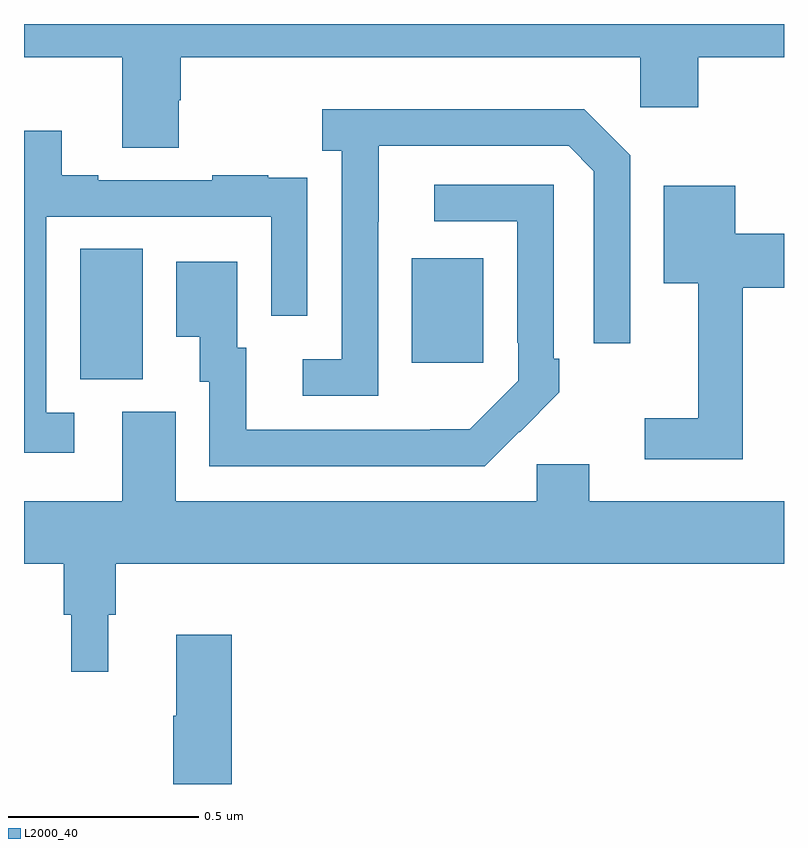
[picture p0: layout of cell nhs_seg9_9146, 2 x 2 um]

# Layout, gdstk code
import gdstk
lib = gdstk.Library(unit=1e-6, precision=1e-09)
def R(c, l, rs):  # rectangles x0, y0, x1, y1
    for r in rs: c.add(gdstk.rectangle(r[:2], r[2:], *l))
def P(c, l, *ps):  # polygons
    for p in ps: c.add(gdstk.Polygon(p, *l))
L2000_40 = (2000, 40)

nhs_seg9_9146 = lib.new_cell('nhs_seg9_9146')
R(nhs_seg9_9146, L2000_40, [(226.148,1203.565,226.312,1203.908), (227.021,1203.609,227.209,1203.883)])
P(nhs_seg9_9146, L2000_40, [(226.407,1204.299),(226.412,1204.299),(226.412,1204.412),(227.622,1204.412),(227.622,1204.281),(227.774,1204.281),(227.774,1204.412),(228,1204.412),(228,1204.5),(226,1204.5),(226,1204.412),(226.259,1204.412),(226.259,1204.174),(226.407,1204.174)],
  [(226.932,1203.979),(226.933,1203.979),(226.933,1204.179),(227.433,1204.179),(227.499,1204.113),(227.499,1203.66),(227.595,1203.66),(227.595,1204.155),(227.474,1204.276),(226.785,1204.276),(226.785,1204.166),(226.836,1204.166),(226.836,1203.618),(226.734,1203.618),(226.734,1203.522),(226.932,1203.522)],
  [(226.132,1203.477),(226.059,1203.477),(226.059,1203.993),(226.65,1203.993),(226.65,1203.732),(226.746,1203.732),(226.746,1203.986),(226.745,1203.986),(226.745,1204.095),(226.643,1204.095),(226.643,1204.102),(226.495,1204.102),(226.495,1204.089),(226.195,1204.089),(226.195,1204.102),(226.099,1204.102),(226.099,1204.219),(226,1204.219),(226,1203.372),(226.132,1203.372)],
  [(227.303,1203.427),(227.304,1203.426),(227.409,1203.531),(227.409,1203.619),(227.394,1203.619),(227.394,1204.077),(227.079,1204.077),(227.079,1203.981),(227.298,1203.981),(227.298,1203.661),(227.301,1203.661),(227.301,1203.561),(227.173,1203.433),(227.069,1203.433),(227.069,1203.432),(226.585,1203.432),(226.585,1203.648),(226.561,1203.648),(226.561,1203.874),(226.4,1203.874),(226.4,1203.677),(226.463,1203.677),(226.463,1203.558),(226.488,1203.558),(226.488,1203.336),(227.212,1203.336)],
  [(227.891,1203.806),(228,1203.806),(228,1203.948),(227.872,1203.948),(227.872,1204.075),(227.684,1204.075),(227.684,1203.818),(227.774,1203.818),(227.774,1203.463),(227.634,1203.463),(227.634,1203.354),(227.891,1203.354)],
  [(226.222,1202.946),(226.241,1202.946),(226.241,1203.08),(228,1203.08),(228,1203.244),(227.488,1203.244),(227.488,1203.342),(227.349,1203.342),(227.349,1203.244),(226.399,1203.244),(226.399,1203.48),(226.259,1203.48),(226.259,1203.244),(226,1203.244),(226,1203.08),(226.105,1203.08),(226.105,1202.946),(226.124,1202.946),(226.124,1202.796),(226.222,1202.796)],
  [(226.547,1202.893),(226.4,1202.893),(226.4,1202.68),(226.393,1202.68),(226.393,1202.5),(226.547,1202.5)])

lib.write_gds('nhs_seg9_9146.gds')
